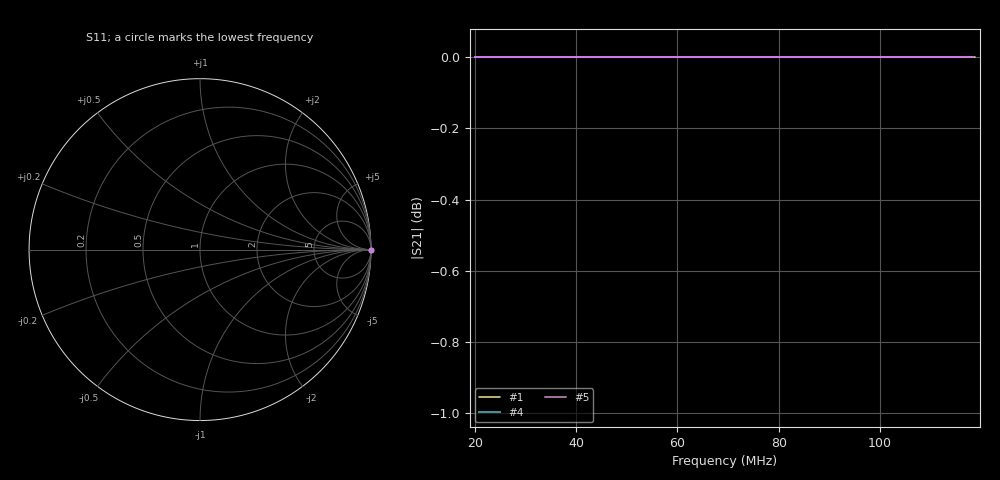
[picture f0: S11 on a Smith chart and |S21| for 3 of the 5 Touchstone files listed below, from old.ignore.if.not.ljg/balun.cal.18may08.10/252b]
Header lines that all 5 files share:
! Anritsu VNA Master:  Model: MS2036C/10/77
! SN:  1601066
! Existing Calibration Information:
! TYPE:  Current Settings,  Active Cal Settings
! START FREQ:  20.000 MHz,  20.000 MHz
! SOURCE POWER:  High,  High
! IFBW:  50 Hz,  50 Hz
! AVG FACTOR:  1 ,  1
! REF PLANE 1:  0 mm,  0 mm
! REF PLANE 2:  0 mm,  0 mm
! CAL TYPE:  Full S22,  Full S22
! CAL METHOD:  SOLT,  SOLT
! CAL LINE TYPE:  Coax,  Coax
! DUT PORT 1:  K-Conn(M),  K-Conn(M)
! DUT PORT 2:  K-Conn(M),  K-Conn(M)
! CAL STATUS:  OK: Accuracy High,  --
# GHZ S DB R 50.0
! FREQ.GHZ  S11DB  S11A  S21DB  S21A  S12DB  S12A  S22DB  S22A
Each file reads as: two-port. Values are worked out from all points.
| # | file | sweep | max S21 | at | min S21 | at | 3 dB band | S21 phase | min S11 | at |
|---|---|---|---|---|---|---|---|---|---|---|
| 1 | b.2a.ns.m1.s2p | 20 MHz to 118.8 MHz | 0.00 dB | 20 MHz | 0.0 dB | 20 MHz | 20 MHz-118.8 MHz | 0 deg at 69.5 MHz | 0.0 dB | 20 MHz |
| 2 | b.2a.ns.m2.s2p | 20 MHz to 118.8 MHz | 0.00 dB | 20 MHz | 0.0 dB | 20 MHz | 20 MHz-118.8 MHz | 0 deg at 69.5 MHz | 0.0 dB | 20 MHz |
| 3 | b.2b.ew.m2.s2p | 20 MHz to 118.8 MHz | 0.00 dB | 20 MHz | 0.0 dB | 20 MHz | 20 MHz-118.8 MHz | 0 deg at 69.5 MHz | 0.0 dB | 20 MHz |
| 4 | b.252.ns.m11.s2p | 20 MHz to 118 MHz | 0.00 dB | 20 MHz | 0.0 dB | 20 MHz | 20 MHz-118 MHz | 0 deg at 69.1 MHz | 0.0 dB | 20 MHz |
| 5 | b.255.ns.m6.s2p | 20 MHz to 118.4 MHz | 0.00 dB | 20 MHz | 0.0 dB | 20 MHz | 20 MHz-118.4 MHz | 0 deg at 69.3 MHz | 0.0 dB | 20 MHz |
